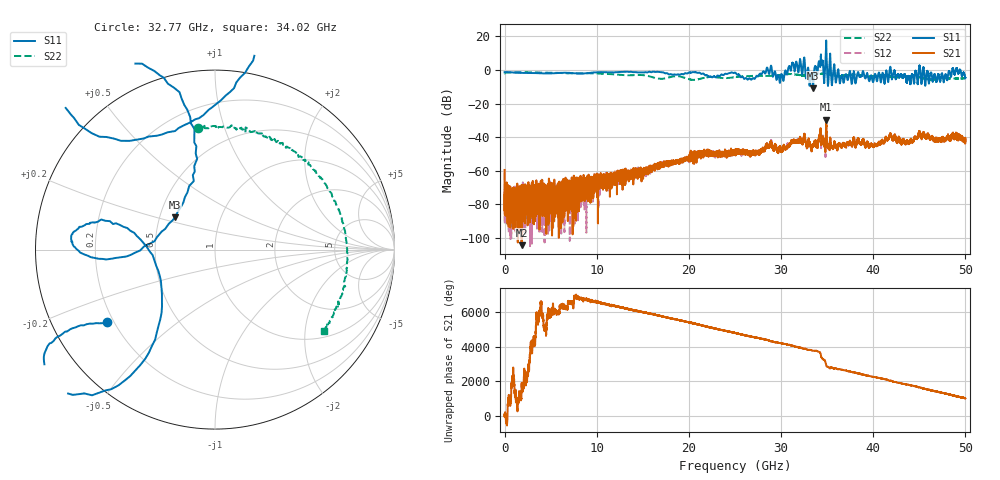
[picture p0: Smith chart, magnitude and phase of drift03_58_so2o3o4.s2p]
!Created with skrf (http://scikit-rf.org).
# Hz S RI R 50.0
!freq ReS11 ImS11 ReS21 ImS21 ReS12 ImS12 ReS22 ImS22
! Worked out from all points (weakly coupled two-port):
!   10001 points, 300 kHz to 50 GHz, reference 50 ohm
!   highest |S21| = -29.56 dB at 34.9 GHz (marker M1); lowest = -104.5 dB at 1.85 GHz (marker M2)
!   lowest |S11| = -10.9 dB at 33.47 GHz (marker M3), VSWR 1.80, Z = 30.1 + j11.8 ohm
!   |S11| at or under -10 dB: 33.44921 GHz to 33.48461 GHz (35.4 MHz wide, 0.106 % of centre)
!   |S22| runs from -5.9 to -1.3 dB; largest |S21 - S12| = 0.007
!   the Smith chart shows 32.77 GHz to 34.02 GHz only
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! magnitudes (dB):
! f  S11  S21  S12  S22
! 300 kHz  -1.3  -59.5  -61.5  -2.0
! 255.3 MHz  -1.3  -82.0  -82.2  -1.4
! 1.85 GHz  -1.8  -104.5  -101.9  -1.4
! 8.335 GHz  -2.2  -67.3  -69.9  -1.9
! 16.67 GHz  -1.1  -58.8  -57.2  -5.2
! 25 GHz  -1.5  -49.8  -47.7  -4.3
! 26.92 GHz  -4.9  -49.6  -48.7  -3.5
! 28.73 GHz  -2.2  -45.6  -45.8  -3.5
! 30.06 GHz  -2.5  -47.8  -48.6  -2.8
! 31.87 GHz  -1.4  -42.6  -41.5  -2.9
! 33.34 GHz  -2.2  -47.1  -46.9  -2.9
! 33.47 GHz  -10.9  -45.3  -45.2  -2.8
! 34.29 GHz  6.1  -34.6  -35.1  -2.3
! 34.9 GHz  17.6  -29.6  -30.7  -2.4
! 36.58 GHz  -3.5  -46.4  -46.0  -3.6
! 40.16 GHz  -2.7  -43.7  -44.5  -3.7
! 41.67 GHz  -5.5  -40.7  -40.3  -3.7
! 43.84 GHz  -3.9  -43.7  -43.7  -3.8
! 45.18 GHz  -5.1  -39.1  -38.7  -4.5
! 47.06 GHz  -2.7  -42.9  -41.1  -5.0
! 49.21 GHz  -2.1  -39.6  -38.6  -5.2
! 50 GHz  -4.8  -42.0  -41.4  -5.0
